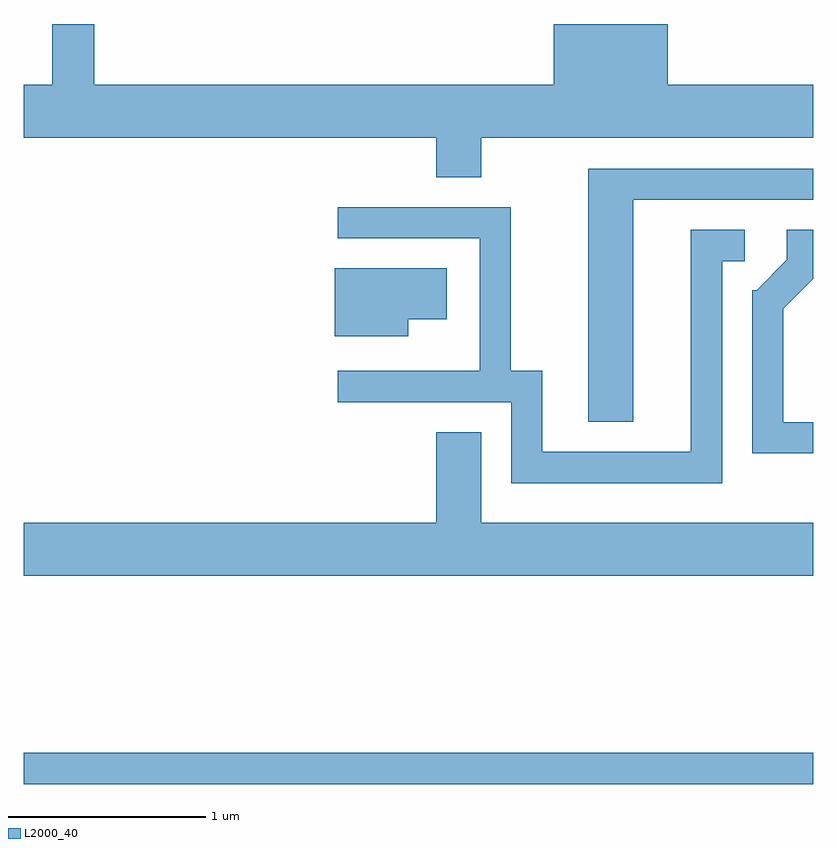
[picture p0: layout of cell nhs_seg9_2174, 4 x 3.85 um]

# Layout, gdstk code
import gdstk
lib = gdstk.Library(unit=1e-6, precision=1e-09)
def R(c, l, rs):  # rectangles x0, y0, x1, y1
    for r in rs: c.add(gdstk.rectangle(r[:2], r[2:], *l))
def P(c, l, *ps):  # polygons
    for p in ps: c.add(gdstk.Polygon(p, *l))
L2000_40 = (2000, 40)

nhs_seg9_2174 = lib.new_cell('nhs_seg9_2174')
R(nhs_seg9_2174, L2000_40, [(249.611,1948.581,253.611,1948.739)])
P(nhs_seg9_2174, L2000_40, [(249.756,1952.432),(249.756,1952.124),(249.611,1952.124),(249.611,1951.856),(251.701,1951.856),(251.701,1951.656),(251.929,1951.656),(251.929,1951.856),(253.611,1951.856),(253.611,1952.124),(252.874,1952.124),(252.874,1952.432),(252.296,1952.432),(252.296,1952.124),(249.969,1952.124),(249.969,1952.432)],
  [(252.699,1951.541),(253.611,1951.541),(253.611,1951.699),(252.471,1951.699),(252.471,1950.416),(252.699,1950.416)],
  [(253.149,1951.231),(253.263,1951.231),(253.263,1951.389),(252.991,1951.389),(252.991,1950.264),(252.239,1950.264),(252.239,1950.674),(252.079,1950.674),(252.079,1951.504),(251.203,1951.504),(251.203,1951.346),(251.921,1951.346),(251.921,1950.674),(251.203,1950.674),(251.203,1950.516),(252.081,1950.516),(252.081,1950.106),(253.149,1950.106)],
  [(253.611,1950.414),(253.459,1950.414),(253.459,1950.989),(253.611,1951.141),(253.611,1951.389),(253.476,1951.389),(253.476,1951.237),(253.324,1951.084),(253.301,1951.084),(253.301,1950.256),(253.611,1950.256)],
  [(251.559,1950.936),(251.754,1950.936),(251.754,1951.194),(251.186,1951.194),(251.186,1950.851),(251.559,1950.851)],
  [(253.611,1949.904),(251.929,1949.904),(251.929,1950.364),(251.701,1950.364),(251.701,1949.904),(249.611,1949.904),(249.611,1949.636),(253.611,1949.636)])

lib.write_gds('nhs_seg9_2174.gds')
